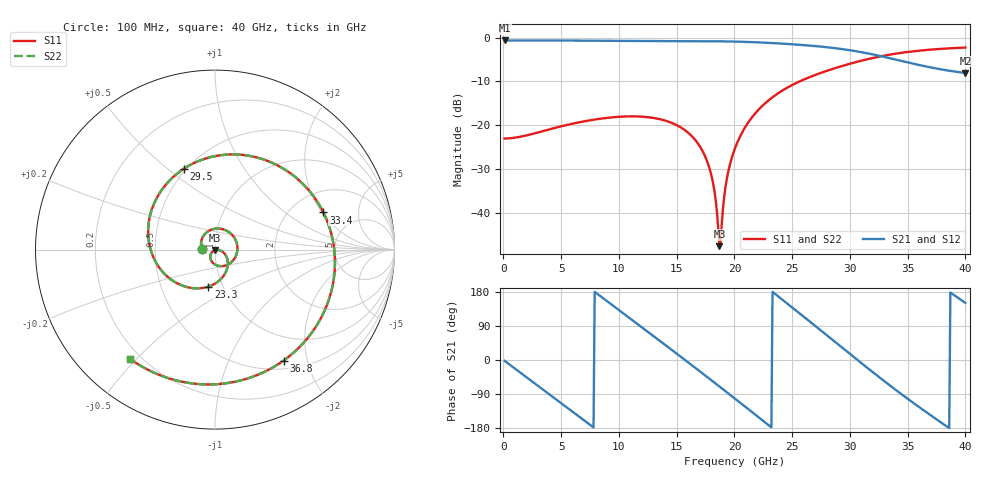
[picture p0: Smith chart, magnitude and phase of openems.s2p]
! A_s4_d300_ap600: L1→L4 through L2/L3, drill Ø0.3, antipad Ø0.6, 4 GND vias at 1 mm
! stackup: 4-layer 1.6 mm FR-4
! ports: 1, 2
! openEMS 0.37.0, staircase, fine mesh (dfine 0.0175 mm), 948519 cells
# Hz S RI R 50
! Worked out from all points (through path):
!   400 points, 100 MHz to 40 GHz, reference 50 ohm
!   highest |S21| = -0.64 dB at 100 MHz (marker M1); lowest = -8.0 dB at 40 GHz (marker M2)
!   group delay of S21, straight-line fit = 65.4 ps
!   lowest |S11| = -47.6 dB at 18.7 GHz (marker M3), VSWR 1.01, Z = 50 - j0.417 ohm
!   |S11| at or under -10 dB: start of sweep to 25.63 GHz
!   |S22| runs from -47.6 to -2.3 dB; largest |S21 - S12| = 3.5e-05
!   S11 on the Smith chart (normalised r, x): 100 MHz: 0.87, +0.00; 23.3 GHz: 0.86, -0.37; 29.5 GHz: 0.48, +0.57; 33.4 GHz: 2.97, +2.07; 36.8 GHz: 0.62, -1.62; 40 GHz: 0.16, -0.48
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1e8  -0.0707 0.000629  0.9282 -0.0369  0.9282 -0.0369  -0.0707 0.000632
1.7e9  -0.074 0.0131  0.7244 -0.5809  0.7244 -0.5809  -0.074 0.0131
3.6e9  -0.0774 0.0402  0.1287 -0.9188  0.1287 -0.9188  -0.0774 0.0402
5.1e9  -0.068 0.0708  -0.4097 -0.8312  -0.4097 -0.8312  -0.068 0.0708
6.8e9  -0.0344 0.1043  -0.8386 -0.39  -0.8386 -0.39  -0.0344 0.1043
8.6e9  0.0278 0.1167  -0.8853 0.2575  -0.8853 0.2575  0.0278 0.1167
1.06e10  0.1018 0.0746  -0.4309 0.8106  -0.4309 0.8106  0.1018 0.0746
1.34e10  0.105 -0.0551  0.5399 0.7361  0.5399 0.7361  0.105 -0.0551
1.54e10  0.022 -0.0912  0.9034 0.12  0.9034 0.12  0.022 -0.0912
1.74e10  -0.0262 -0.038  0.7062 -0.5745  0.7062 -0.5745  -0.0262 -0.038
1.82e10  -0.0152 -0.0133  0.4819 -0.7709  0.4819 -0.7709  -0.0152 -0.0133
1.87e10  -0.000228 -0.00417  0.3129 -0.8522  0.3129 -0.8522  -0.000228 -0.00417
1.93e10  0.0225 -0.00312  0.093 -0.9009  0.093 -0.9009  0.0225 -0.00312
2.01e10  0.0527 -0.0216  -0.2059 -0.8775  -0.2059 -0.8775  0.0527 -0.0216
2.18e10  0.0618 -0.1219  -0.7174 -0.5208  -0.7174 -0.5208  0.0618 -0.1219
2.33e10  -0.0362 -0.2059  -0.8675 0.00277  -0.8675 0.00277  -0.0362 -0.2059
2.67e10  -0.3624 0.0135  -0.1028 0.8013  -0.1028 0.8013  -0.3624 0.0135
2.95e10  -0.1753 0.4494  0.6459 0.3509  0.6459 0.3509  -0.1753 0.4494
3.12e10  0.1817 0.5239  0.6572 -0.1539  0.6572 -0.1539  0.1817 0.5239
3.34e10  0.6038 0.2069  0.2407 -0.5336  0.2407 -0.5336  0.6038 0.2069
3.68e10  0.3817 -0.6184  -0.3629 -0.2871  -0.3629 -0.2871  0.3817 -0.6184
4e10  -0.4747 -0.6074  -0.3451 0.1946  -0.3451 0.1946  -0.4748 -0.6075
